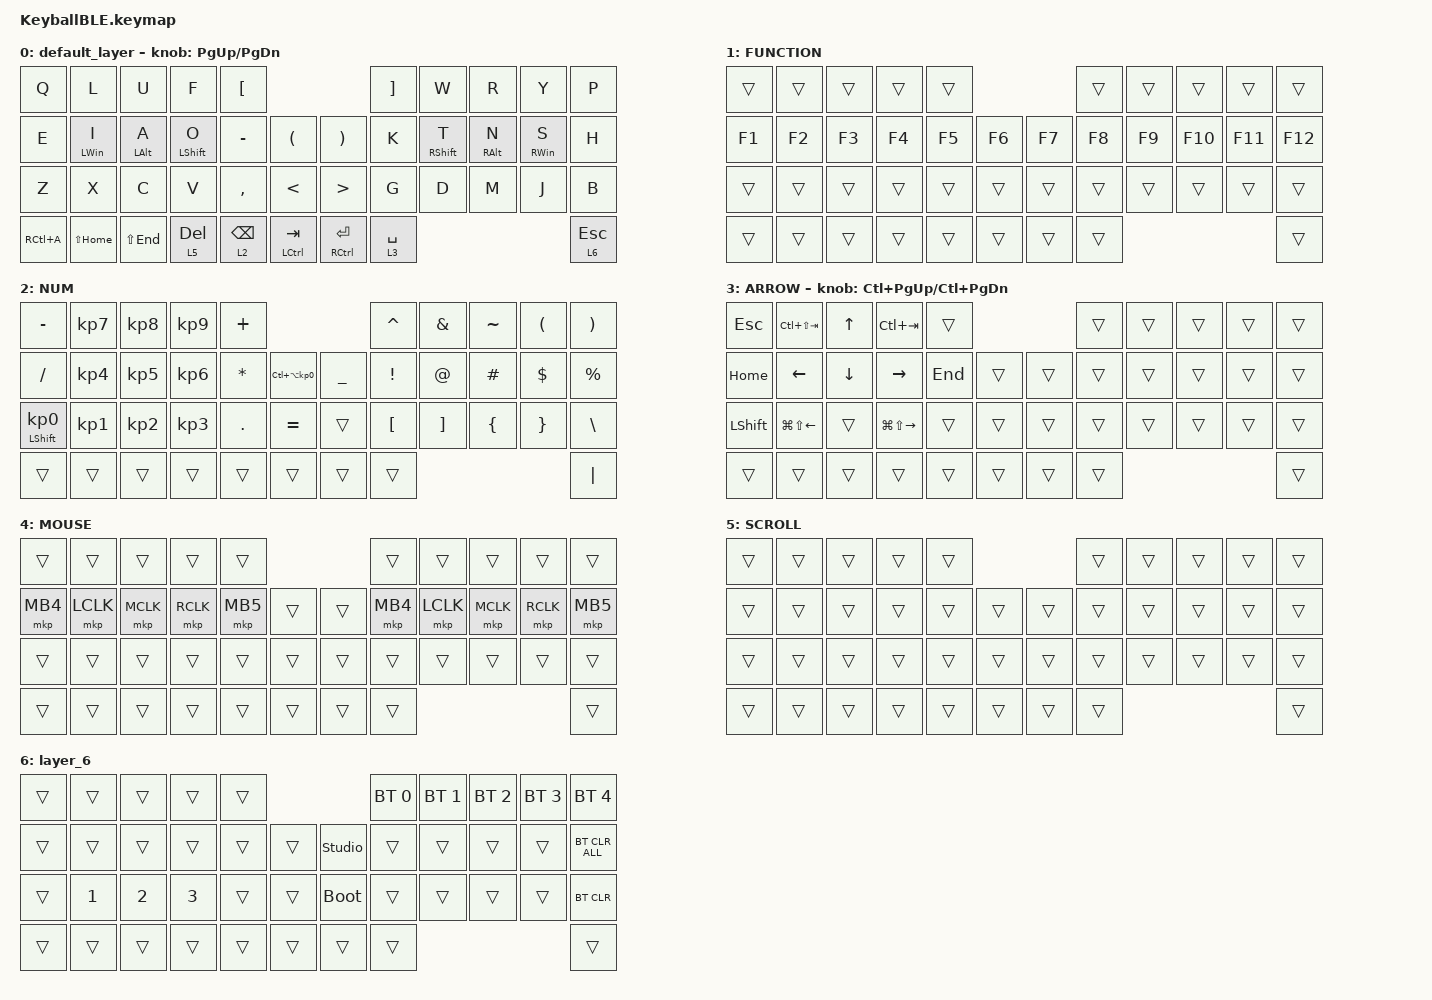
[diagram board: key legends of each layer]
#include <behaviors.dtsi>
#include <dt-bindings/zmk/bt.h>
#include <dt-bindings/zmk/keys.h>
#include <dt-bindings/zmk/pointing.h>

#define MOUSE 4
#define SCROLL 5
#define NUM 6

&mt {
    flavor = "balanced";
    quick-tap-ms = <0>;
};

/ {
    combos {
        compatible = "zmk,combos";

        int5 {
            bindings = <&kp INT_MUHENKAN>;
            key-positions = <24 23>;
        };

        int4 {
            bindings = <&kp INT_HENKAN>;
            key-positions = <31 32>;
        };

        fun {
            bindings = <&sl 1>;
            key-positions = <38 41>;
        };
    };

    macros {
        to_layer_0: to_layer_0 {
            compatible = "zmk,behavior-macro-one-param";
            #binding-cells = <1>;
            bindings = <&to 0 &macro_param_1to1 &kp MACRO_PLACEHOLDER>;
            label = "TO_LAYER_0";
        };
    };

    behaviors {
        lt_to_layer_0: lt_to_layer_0 {
            compatible = "zmk,behavior-hold-tap";
            label = "LAYER_TAP_TO_0";
            bindings = <&mo>, <&to_layer_0>;

            #binding-cells = <2>;
            tapping-term-ms = <200>;
        };
    };

    keymap {
        compatible = "zmk,keymap";

        default_layer {
            bindings = <
&kp Q      &kp L           &kp U           &kp F                 &kp LBKT                                                                     &kp RBKT                &kp W              &kp R            &kp Y            &kp P
&kp E      &mt LEFT_WIN I  &mt LEFT_ALT A  &mt LEFT_SHIFT O      &kp MINUS                   &kp LEFT_PARENTHESIS      &kp RIGHT_PARENTHESIS  &kp K                   &mt RIGHT_SHIFT T  &mt RIGHT_ALT N  &mt RIGHT_WIN S  &kp H
&kp Z      &kp X           &kp C           &kp V                 &kp COMMA                   &kp LESS_THAN             &kp GREATER_THAN       &kp G                   &kp D              &kp M            &kp J            &kp B
&kp RC(A)  &kp LS(HOME)    &kp LS(END)     &lt_to_layer_0 5 DEL  &lt_to_layer_0 2 BACKSPACE  &mt LCTRL TAB             &mt RCTRL ENTER        &lt_to_layer_0 3 SPACE                                                       &lt 6 ESCAPE
            >;

            sensor-bindings = <&inc_dec_kp PG_UP PAGE_DOWN>;
        };

        FUNCTION {
            bindings = <
&trans  &trans  &trans  &trans  &trans                      &trans  &trans  &trans   &trans   &trans
&kp F1  &kp F2  &kp F3  &kp F4  &kp F5  &kp F6      &kp F7  &kp F8  &kp F9  &kp F10  &kp F11  &kp F12
&trans  &trans  &trans  &trans  &trans  &trans      &trans  &trans  &trans  &trans   &trans   &trans
&trans  &trans  &trans  &trans  &trans  &trans      &trans  &trans                            &trans
            >;
        };

        NUM {
            bindings = <
&kp MINUS                   &kp KP_NUMBER_7  &kp KP_NUMBER_8  &kp KP_NUMBER_9  &kp PLUS                                                   &kp CARET         &kp AMPERSAND      &kp TILDE       &kp LEFT_PARENTHESIS  &kp RIGHT_PARENTHESIS
&kp SLASH                   &kp KP_NUMBER_4  &kp KP_NUMBER_5  &kp KP_NUMBER_6  &kp ASTERISK  &kp LC(LA(KP_NUMBER_0))      &kp UNDERSCORE  &kp EXCLAMATION   &kp AT_SIGN        &kp HASH        &kp DOLLAR            &kp PERCENT
&mt LEFT_SHIFT KP_NUMBER_0  &kp KP_NUMBER_1  &kp KP_NUMBER_2  &kp KP_NUMBER_3  &kp PERIOD    &kp EQUAL                    &trans          &kp LEFT_BRACKET  &kp RIGHT_BRACKET  &kp LEFT_BRACE  &kp RIGHT_BRACE       &kp BACKSLASH
&trans                      &trans           &trans           &trans           &trans        &trans                       &trans          &trans                                                                     &kp PIPE
            >;
        };

        ARROW {
            bindings = <
&kp ESCAPE      &kp LC(LS(TAB))         &kp UP_ARROW    &kp LC(TAB)              &trans                       &trans  &trans  &trans  &trans  &trans
&kp HOME        &kp LEFT_ARROW          &kp DOWN_ARROW  &kp RIGHT_ARROW          &kp END  &trans      &trans  &trans  &trans  &trans  &trans  &trans
&kp LEFT_SHIFT  &kp LG(LS(LEFT_ARROW))  &trans          &kp LG(LS(RIGHT_ARROW))  &trans   &trans      &trans  &trans  &trans  &trans  &trans  &trans
&trans          &trans                  &trans          &trans                   &trans   &trans      &trans  &trans                          &trans
            >;

            sensor-bindings = <&inc_dec_kp LC(PAGE_UP) LC(PAGE_DOWN)>;
        };

        MOUSE {
            bindings = <
&trans    &trans     &trans     &trans     &trans                        &trans    &trans     &trans     &trans     &trans
&mkp MB4  &mkp LCLK  &mkp MCLK  &mkp RCLK  &mkp MB5  &trans      &trans  &mkp MB4  &mkp LCLK  &mkp MCLK  &mkp RCLK  &mkp MB5
&trans    &trans     &trans     &trans     &trans    &trans      &trans  &trans    &trans     &trans     &trans     &trans
&trans    &trans     &trans     &trans     &trans    &trans      &trans  &trans                                     &trans
            >;
        };

        SCROLL {
            bindings = <
&trans  &trans  &trans  &trans  &trans                      &trans  &trans  &trans  &trans  &trans
&trans  &trans  &trans  &trans  &trans  &trans      &trans  &trans  &trans  &trans  &trans  &trans
&trans  &trans  &trans  &trans  &trans  &trans      &trans  &trans  &trans  &trans  &trans  &trans
&trans  &trans  &trans  &trans  &trans  &trans      &trans  &trans                          &trans
            >;
        };

        layer_6 {
            bindings = <
&trans  &trans        &trans        &trans        &trans                              &bt BT_SEL 0  &bt BT_SEL 1  &bt BT_SEL 2  &bt BT_SEL 3  &bt BT_SEL 4
&trans  &trans        &trans        &trans        &trans  &trans      &studio_unlock  &trans        &trans        &trans        &trans        &bt BT_CLR_ALL
&trans  &kp NUMBER_1  &kp NUMBER_2  &kp NUMBER_3  &trans  &trans      &bootloader     &trans        &trans        &trans        &trans        &bt BT_CLR
&trans  &trans        &trans        &trans        &trans  &trans      &trans          &trans                                                  &trans
            >;
        };
    };
};
